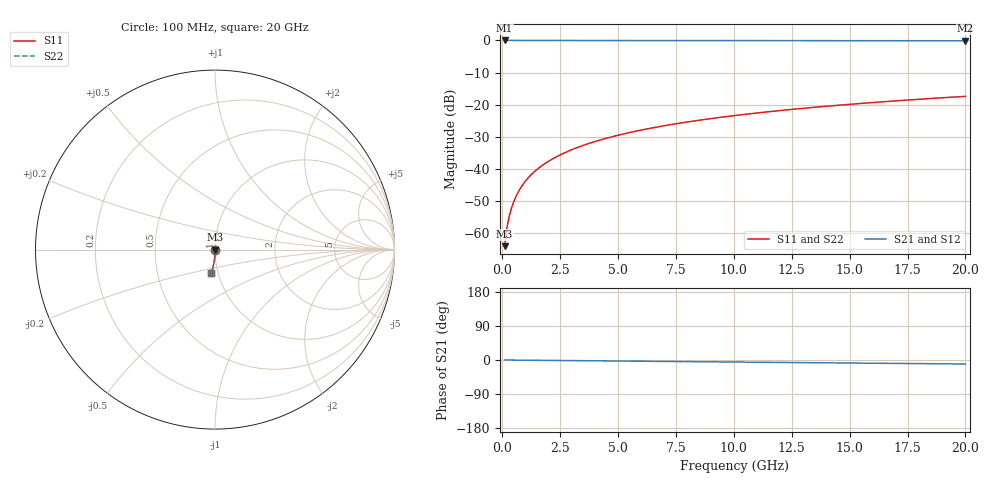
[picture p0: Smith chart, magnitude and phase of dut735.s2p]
! Touchstone file exported from HFSS 2026.1.0
!  File:  C:/ffzhzh/LocalFiles/Ansys_Project_Files/temp_train_TSV_735_1783182684_43440.aedt
!  Generated:  12:32:43 AM Jul  5, 2026
!  Design:  TSV
!  Project:  temp_train_TSV_735_1783182684_43440
! Variables:
!  h_bsmrdl = 2um
!  h_ox = 20um
!  h_rdl = 5um
!  h_sub = 77.69um
!  h_tmrdl = 5um
!  h_tsv = 77.69um
!  h_via = 3um
!  l_bsmrdl = 300um
!  l_sub = 415.42um
!  l_tmrdl = 200um
!  m_sub = 200um
!  pitch = 17.37um
!  r_tsv = 7.71um
!  s_tmrdl = 10um
!  w_bsmrdl = 18um
!  w_sub = 500um
!  w_tmrdl = 12um
!  x_tsv_center1 = 206um
!  x_tsv_center2 = 524um
!  x_tsv_center3 = 736um
!  x_tsv_center4 = 1054um
!  x_tsv_center5 = 1266um
!  x_tsv_center6 = 1584um
# GHz S MA R 50.000000
! Terminal data exported
! Port[1] = TSV1_1_T1
! Port[2] = TSV1_1_T2
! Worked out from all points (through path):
!   200 points, 100 MHz to 20 GHz, reference 50 ohm
!   highest |S21| = 0.00 dB at 100 MHz (marker M1); lowest = -0.1 dB at 20 GHz (marker M2)
!   group delay of S21, straight-line fit = 1.47 ps
!   lowest |S11| = -64.0 dB at 100 MHz (marker M3), VSWR 1.00, Z = 50 - j0.0592 ohm
!   |S11| at or under -10 dB: start of sweep to end of sweep
!   |S22| runs from -64.0 to -17.4 dB; largest |S21 - S12| = 3.3e-15
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0.1  0.0006291 -70.2  0.9998 -0.1  0.9998 -0.1  0.0006291 -70.2
! Gamma 0 0 0 0
! Port Impedance 50 0 50 0
0.2  0.00122 -78.4  0.9998 -0.1  0.9998 -0.1  0.00122 -78.4
0.3  0.001839 -81.0  0.9997 -0.2  0.9997 -0.2  0.001839 -81.0
0.4  0.002478 -82.2  0.9997 -0.2  0.9997 -0.2  0.002478 -82.2
0.5  0.00313 -83.1  0.9996 -0.3  0.9996 -0.3  0.00313 -83.1
0.7  0.00446 -84.3  0.9995 -0.4  0.9995 -0.4  0.00446 -84.3
0.8  0.005131 -84.8  0.9995 -0.4  0.9995 -0.4  0.005131 -84.8
1  0.006477 -85.6  0.9994 -0.6  0.9994 -0.6  0.006477 -85.6
1.2  0.007824 -86.3  0.9994 -0.7  0.9994 -0.7  0.007824 -86.3
1.4  0.009171 -86.8  0.9993 -0.8  0.9993 -0.8  0.009171 -86.8
1.7  0.01119 -87.4  0.9993 -0.9  0.9993 -0.9  0.01119 -87.4
2  0.01321 -87.9  0.9992 -1.1  0.9992 -1.1  0.01321 -87.9
2.7  0.01793 -88.8  0.999 -1.5  0.999 -1.5  0.01793 -88.8
3.5  0.02333 -89.6  0.9988 -1.9  0.9988 -1.9  0.02333 -89.6
4.2  0.02807 -90.1  0.9986 -2.3  0.9986 -2.3  0.02807 -90.1
5  0.03351 -90.7  0.9983 -2.7  0.9983 -2.7  0.03351 -90.7
6.8  0.04576 -91.9  0.9976 -3.7  0.9976 -3.7  0.04576 -91.9
8.3  0.05599 -92.9  0.9969 -4.4  0.9969 -4.4  0.05599 -92.9
10.1  0.06824 -94.0  0.9959 -5.4  0.9959 -5.4  0.06824 -94.0
13.4  0.09062 -95.9  0.9939 -7.1  0.9939 -7.1  0.09062 -95.9
16.7  0.1128 -97.7  0.9913 -8.9  0.9913 -8.9  0.1128 -97.7
20  0.1349 -99.5  0.9883 -10.6  0.9883 -10.6  0.1349 -99.5
